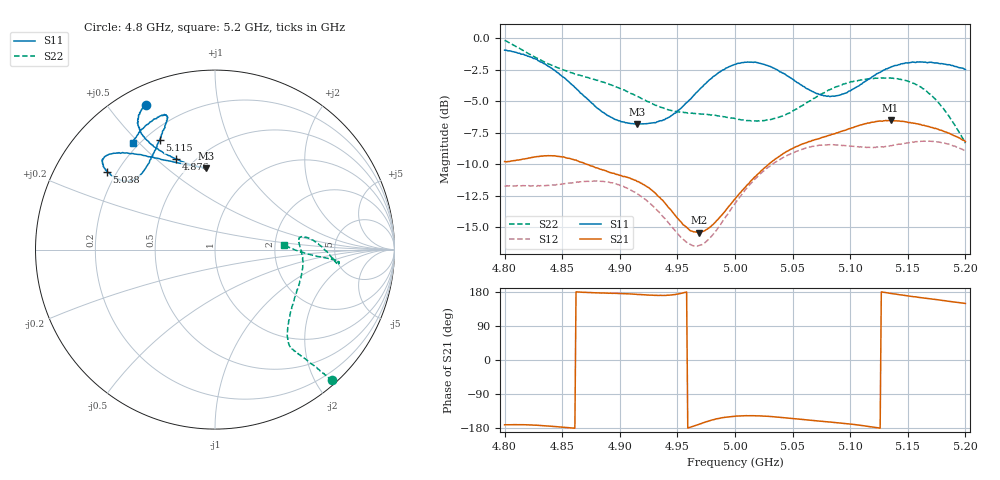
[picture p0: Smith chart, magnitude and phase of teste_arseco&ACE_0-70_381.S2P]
! Network Analyzer HP8722D
! Hewlett-Packard
! Data name: Linha & Wilkinson
! Saver's name: Rodrigo Anjos
! Comments: Teste da utilização de aquisição
! continua pelo VNA HP8722D
! Time and date: 8/5/2025 15:56
!  Frequency  S11  S21  S12  S22
# HZ  S  MA R 50
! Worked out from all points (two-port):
!   401 points, 4.8 GHz to 5.2 GHz, reference 50 ohm
!   highest |S21| = -6.52 dB at 5.135 GHz (marker M1); lowest = -15.4 dB at 4.969 GHz (marker M2)
!   |S21| within 3 dB of the highest: 4.821 GHz to 4.854 GHz (33.48 MHz wide, 0.692 % of centre); 5.036 GHz to end of sweep
!   lowest |S11| = -6.8 dB at 4.915 GHz (marker M3), VSWR 2.67, Z = 30.4 + j34.7 ohm
!   |S11| at or under -10 dB: nowhere
!   |S22| runs from -8.3 to -0.2 dB; largest |S21 - S12| = 0.83
!   S11 on the Smith chart (normalised r, x): 4.8 GHz: 0.08, +0.63; 4.876 GHz: 0.40, +0.58; 5.038 GHz: 0.16, +0.31; 5.115 GHz: 0.26, +0.58; 5.2 GHz: 0.18, +0.48
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4.8e9  0.8958 115.6  0.3238 -170.9  0.2591 -86.4  0.9792 -48.1
4.819e9  0.8541 119.9  0.3327 -171.0  0.2586 -82.2  0.878 -49.2
4.836e9  0.7838 122.2  0.341 -174.0  0.26 -76.6  0.799 -50.3
4.867e9  0.6017 117.4  0.3214 178.8  0.2689 -68.2  0.709 -52.0
4.876e9  0.5504 113.4  0.3105 177.7  0.2704 -67.1  0.6892 -52.4
4.9e9  0.4698 100.6  0.2855 175.5  0.2605 -67.6  0.6314 -50.4
4.915e9  0.4556 96.1  0.27 173.0  0.2415 -69.4  0.5878 -46.2
4.934e9  0.468 100.1  0.2345 170.4  0.2044 -70.1  0.5343 -36.8
4.957e9  0.55 116.5  0.179 178.7  0.156 -59.4  0.5069 -21.6
4.969e9  0.6236 124.3  0.169 -169.4  0.1504 -45.9  0.5009 -14.7
4.981e9  0.7035 130.5  0.1822 -157.8  0.1664 -32.8  0.4935 -8.6
5e9  0.7868 137.3  0.2298 -148.5  0.2208 -21.7  0.4792 -0.3
5.019e9  0.7999 141.6  0.2864 -147.5  0.2803 -19.1  0.4685 5.7
5.038e9  0.7417 144.3  0.3385 -150.7  0.3288 -19.6  0.4855 8.5
5.067e9  0.6144 141.7  0.3927 -159.3  0.3719 -21.8  0.5705 3.6
5.088e9  0.5909 132.6  0.4207 -165.3  0.3769 -25.1  0.6415 -3.0
5.115e9  0.6825 116.9  0.4603 -175.0  0.3685 -28.0  0.6885 -6.6
5.134e9  0.763 110.6  0.4703 176.4  0.3731 -30.0  0.6946 -5.9
5.135e9  0.7666 110.6  0.4721 175.9  0.3743 -30.0  0.6946 -5.8
5.162e9  0.8046 112.7  0.4521 164.3  0.3899 -36.8  0.6366 -4.6
5.179e9  0.7931 118.5  0.4312 157.6  0.3849 -42.2  0.5377 -3.1
5.2e9  0.7509 127.6  0.3888 149.2  0.3569 -47.9  0.383 3.8
